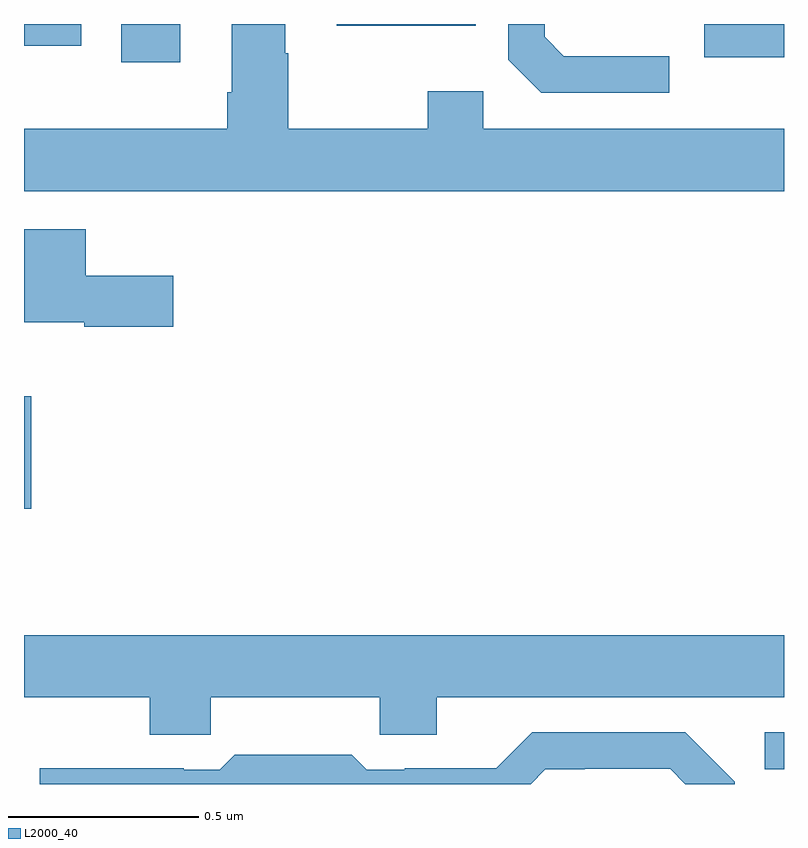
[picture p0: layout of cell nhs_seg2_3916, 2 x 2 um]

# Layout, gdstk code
import gdstk
lib = gdstk.Library(unit=1e-6, precision=1e-09)
def R(c, l, rs):  # rectangles x0, y0, x1, y1
    for r in rs: c.add(gdstk.rectangle(r[:2], r[2:], *l))
def P(c, l, *ps):  # polygons
    for p in ps: c.add(gdstk.Polygon(p, *l))
L2000_40 = (2000, 40)

nhs_seg2_3916 = lib.new_cell('nhs_seg2_3916')
R(nhs_seg2_3916, L2000_40, [(161.949,588.839,162,588.936), (160,589.524,160.019,589.82), (160.256,590.7,160.411,590.8), (161.79,590.712,162,590.8), (160,590.743,160.15,590.8), (160.823,590.795,161.189,590.8)])
P(nhs_seg2_3916, L2000_40, [(162,590.524),(161.208,590.524),(161.208,590.623),(161.062,590.623),(161.062,590.524),(160.695,590.524),(160.695,590.723),(160.687,590.723),(160.687,590.8),(160.547,590.8),(160.547,590.62),(160.535,590.62),(160.535,590.524),(160,590.524),(160,590.36),(162,590.36)],
  [(161.698,590.715),(161.421,590.715),(161.37,590.766),(161.37,590.8),(161.274,590.8),(161.274,590.706),(161.361,590.619),(161.698,590.619)],
  [(160.393,590.137),(160.162,590.137),(160.162,590.26),(160,590.26),(160,590.015),(160.158,590.015),(160.158,590.003),(160.393,590.003)],
  [(160.491,589.028),(160.936,589.028),(160.936,588.93),(161.086,588.93),(161.086,589.028),(162,589.028),(162,589.192),(160,589.192),(160,589.028),(160.331,589.028),(160.331,588.93),(160.491,588.93)],
  [(161.372,588.839),(161.476,588.839),(161.476,588.84),(161.7,588.84),(161.74,588.8),(161.871,588.8),(161.871,588.806),(161.74,588.936),(161.337,588.936),(161.243,588.842),(161.002,588.842),(161.002,588.837),(160.902,588.837),(160.863,588.877),(160.555,588.877),(160.515,588.837),(160.421,588.837),(160.421,588.842),(160.041,588.842),(160.041,588.8),(161.333,588.8)])

lib.write_gds('nhs_seg2_3916.gds')
